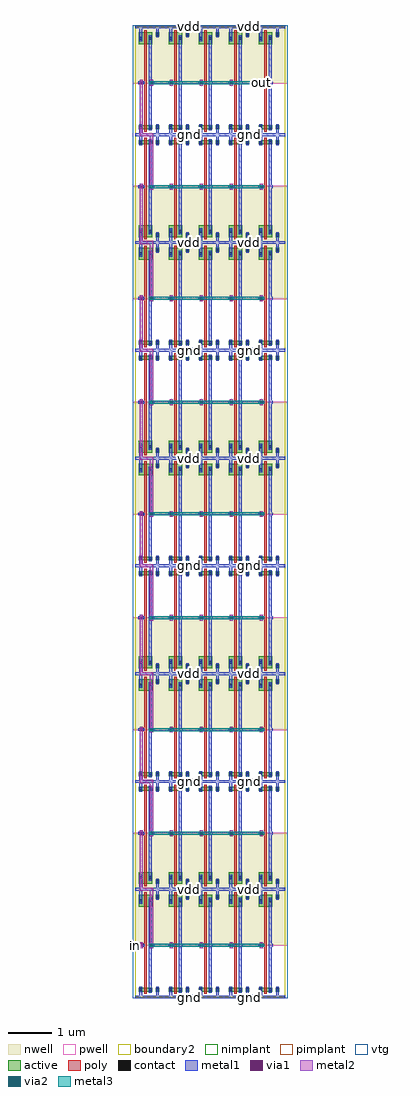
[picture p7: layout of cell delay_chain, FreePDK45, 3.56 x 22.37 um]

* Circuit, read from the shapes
.subckt delay_chain gnd in out vdd
M1 pinv_18_1/A in gnd gnd nfet w=0.09u l=0.05u
M2 pinv_18_10/A pinv_18_1/A gnd gnd nfet w=0.09u l=0.05u
M3 pinv_18_11/A pinv_18_10/A gnd gnd nfet w=0.09u l=0.05u
M4 pinv_18_16/A pinv_18_11/A gnd gnd nfet w=0.09u l=0.05u
M5 pinv_18_21/A pinv_18_16/A gnd gnd nfet w=0.09u l=0.05u
M6 pinv_18_26/A pinv_18_21/A gnd gnd nfet w=0.09u l=0.05u
M7 pinv_18_31/A pinv_18_26/A gnd gnd nfet w=0.09u l=0.05u
M8 pinv_18_36/A pinv_18_31/A gnd gnd nfet w=0.09u l=0.05u
M9 out pinv_18_36/A gnd gnd nfet w=0.09u l=0.05u
M10 pinv_18_1/Z pinv_18_1/A gnd gnd nfet w=0.09u l=0.05u
M11 pinv_18_6/Z pinv_18_10/A gnd gnd nfet w=0.09u l=0.05u
M12 pinv_18_11/Z pinv_18_11/A gnd gnd nfet w=0.09u l=0.05u
M13 pinv_18_16/Z pinv_18_16/A gnd gnd nfet w=0.09u l=0.05u
M14 pinv_18_21/Z pinv_18_21/A gnd gnd nfet w=0.09u l=0.05u
M15 pinv_18_26/Z pinv_18_26/A gnd gnd nfet w=0.09u l=0.05u
M16 pinv_18_31/Z pinv_18_31/A gnd gnd nfet w=0.09u l=0.05u
M17 pinv_18_36/Z pinv_18_36/A gnd gnd nfet w=0.09u l=0.05u
M18 pinv_18_41/Z out gnd gnd nfet w=0.09u l=0.05u
M19 pinv_18_2/Z pinv_18_1/A gnd gnd nfet w=0.09u l=0.05u
M20 pinv_18_7/Z pinv_18_10/A gnd gnd nfet w=0.09u l=0.05u
M21 pinv_18_12/Z pinv_18_11/A gnd gnd nfet w=0.09u l=0.05u
M22 pinv_18_17/Z pinv_18_16/A gnd gnd nfet w=0.09u l=0.05u
M23 pinv_18_22/Z pinv_18_21/A gnd gnd nfet w=0.09u l=0.05u
M24 pinv_18_27/Z pinv_18_26/A gnd gnd nfet w=0.09u l=0.05u
M25 pinv_18_32/Z pinv_18_31/A gnd gnd nfet w=0.09u l=0.05u
M26 pinv_18_37/Z pinv_18_36/A gnd gnd nfet w=0.09u l=0.05u
M27 pinv_18_42/Z out gnd gnd nfet w=0.09u l=0.05u
M28 pinv_18_3/Z pinv_18_1/A gnd gnd nfet w=0.09u l=0.05u
M29 pinv_18_8/Z pinv_18_10/A gnd gnd nfet w=0.09u l=0.05u
M30 pinv_18_13/Z pinv_18_11/A gnd gnd nfet w=0.09u l=0.05u
M31 pinv_18_18/Z pinv_18_16/A gnd gnd nfet w=0.09u l=0.05u
M32 pinv_18_23/Z pinv_18_21/A gnd gnd nfet w=0.09u l=0.05u
M33 pinv_18_28/Z pinv_18_26/A gnd gnd nfet w=0.09u l=0.05u
M34 pinv_18_33/Z pinv_18_31/A gnd gnd nfet w=0.09u l=0.05u
M35 pinv_18_38/Z pinv_18_36/A gnd gnd nfet w=0.09u l=0.05u
M36 pinv_18_43/Z out gnd gnd nfet w=0.09u l=0.05u
M37 pinv_18_4/Z pinv_18_1/A gnd gnd nfet w=0.09u l=0.05u
M38 pinv_18_9/Z pinv_18_10/A gnd gnd nfet w=0.09u l=0.05u
M39 pinv_18_14/Z pinv_18_11/A gnd gnd nfet w=0.09u l=0.05u
M40 pinv_18_19/Z pinv_18_16/A gnd gnd nfet w=0.09u l=0.05u
M41 pinv_18_24/Z pinv_18_21/A gnd gnd nfet w=0.09u l=0.05u
M42 pinv_18_29/Z pinv_18_26/A gnd gnd nfet w=0.09u l=0.05u
M43 pinv_18_34/Z pinv_18_31/A gnd gnd nfet w=0.09u l=0.05u
M44 pinv_18_39/Z pinv_18_36/A gnd gnd nfet w=0.09u l=0.05u
M45 pinv_18_44/Z out gnd gnd nfet w=0.09u l=0.05u
M46 pinv_18_1/A in vdd vdd pfet w=0.27u l=0.05u
M47 pinv_18_10/A pinv_18_1/A vdd vdd pfet w=0.27u l=0.05u
M48 pinv_18_11/A pinv_18_10/A vdd vdd pfet w=0.27u l=0.05u
M49 pinv_18_16/A pinv_18_11/A vdd vdd pfet w=0.27u l=0.05u
M50 pinv_18_21/A pinv_18_16/A vdd vdd pfet w=0.27u l=0.05u
M51 pinv_18_26/A pinv_18_21/A vdd vdd pfet w=0.27u l=0.05u
M52 pinv_18_31/A pinv_18_26/A vdd vdd pfet w=0.27u l=0.05u
M53 pinv_18_36/A pinv_18_31/A vdd vdd pfet w=0.27u l=0.05u
M54 out pinv_18_36/A vdd vdd pfet w=0.27u l=0.05u
M55 pinv_18_1/Z pinv_18_1/A vdd vdd pfet w=0.27u l=0.05u
M56 pinv_18_6/Z pinv_18_10/A vdd vdd pfet w=0.27u l=0.05u
M57 pinv_18_11/Z pinv_18_11/A vdd vdd pfet w=0.27u l=0.05u
M58 pinv_18_16/Z pinv_18_16/A vdd vdd pfet w=0.27u l=0.05u
M59 pinv_18_21/Z pinv_18_21/A vdd vdd pfet w=0.27u l=0.05u
M60 pinv_18_26/Z pinv_18_26/A vdd vdd pfet w=0.27u l=0.05u
M61 pinv_18_31/Z pinv_18_31/A vdd vdd pfet w=0.27u l=0.05u
M62 pinv_18_36/Z pinv_18_36/A vdd vdd pfet w=0.27u l=0.05u
M63 pinv_18_41/Z out vdd vdd pfet w=0.27u l=0.05u
M64 pinv_18_2/Z pinv_18_1/A vdd vdd pfet w=0.27u l=0.05u
M65 pinv_18_7/Z pinv_18_10/A vdd vdd pfet w=0.27u l=0.05u
M66 pinv_18_12/Z pinv_18_11/A vdd vdd pfet w=0.27u l=0.05u
M67 pinv_18_17/Z pinv_18_16/A vdd vdd pfet w=0.27u l=0.05u
M68 pinv_18_22/Z pinv_18_21/A vdd vdd pfet w=0.27u l=0.05u
M69 pinv_18_27/Z pinv_18_26/A vdd vdd pfet w=0.27u l=0.05u
M70 pinv_18_32/Z pinv_18_31/A vdd vdd pfet w=0.27u l=0.05u
M71 pinv_18_37/Z pinv_18_36/A vdd vdd pfet w=0.27u l=0.05u
M72 pinv_18_42/Z out vdd vdd pfet w=0.27u l=0.05u
M73 pinv_18_3/Z pinv_18_1/A vdd vdd pfet w=0.27u l=0.05u
M74 pinv_18_8/Z pinv_18_10/A vdd vdd pfet w=0.27u l=0.05u
M75 pinv_18_13/Z pinv_18_11/A vdd vdd pfet w=0.27u l=0.05u
M76 pinv_18_18/Z pinv_18_16/A vdd vdd pfet w=0.27u l=0.05u
M77 pinv_18_23/Z pinv_18_21/A vdd vdd pfet w=0.27u l=0.05u
M78 pinv_18_28/Z pinv_18_26/A vdd vdd pfet w=0.27u l=0.05u
M79 pinv_18_33/Z pinv_18_31/A vdd vdd pfet w=0.27u l=0.05u
M80 pinv_18_38/Z pinv_18_36/A vdd vdd pfet w=0.27u l=0.05u
M81 pinv_18_43/Z out vdd vdd pfet w=0.27u l=0.05u
M82 pinv_18_4/Z pinv_18_1/A vdd vdd pfet w=0.27u l=0.05u
M83 pinv_18_9/Z pinv_18_10/A vdd vdd pfet w=0.27u l=0.05u
M84 pinv_18_14/Z pinv_18_11/A vdd vdd pfet w=0.27u l=0.05u
M85 pinv_18_19/Z pinv_18_16/A vdd vdd pfet w=0.27u l=0.05u
M86 pinv_18_24/Z pinv_18_21/A vdd vdd pfet w=0.27u l=0.05u
M87 pinv_18_29/Z pinv_18_26/A vdd vdd pfet w=0.27u l=0.05u
M88 pinv_18_34/Z pinv_18_31/A vdd vdd pfet w=0.27u l=0.05u
M89 pinv_18_39/Z pinv_18_36/A vdd vdd pfet w=0.27u l=0.05u
M90 pinv_18_44/Z out vdd vdd pfet w=0.27u l=0.05u
.ends

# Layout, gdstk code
import gdstk
lib = gdstk.Library(unit=1e-6, precision=5e-10)
def R(c, l, rs):  # rectangles x0, y0, x1, y1
    for r in rs: c.add(gdstk.rectangle(r[:2], r[2:], *l))
def A(c, l, x, y, w, h, nx, ny, dx, dy):  # array of equal rectangles
    R(c, l, [(x+i*dx, y+j*dy, x+i*dx+w, y+j*dy+h) for i in range(nx) for j in range(ny)])
active = (1, 0)
pwell = (2, 0)
nwell = (3, 0)
nimplant = (4, 0)
pimplant = (5, 0)
vtg = (6, 0)
poly = (9, 0)
contact = (10, 0)
metal1 = (11, 0)
via1 = (12, 0)
metal2 = (13, 0)
via2 = (14, 0)
metal3 = (15, 0)
boundary2 = (239, 0)

contact_10 = lib.new_cell('contact_10')
R(contact_10, active, [(0,0.0225,0.09,0.1125)])
R(contact_10, nwell, [(-0.055,-0.0325,0.145,0.1675)])
R(contact_10, pimplant, [(0,0.0225,0.09,0.1125)])
R(contact_10, contact, [(0.0125,0.035,0.0775,0.1)])
R(contact_10, metal1, [(0.0125,0,0.0775,0.135)])
R(contact_10, boundary2, [(-0.055,-0.0325,0.145,0.1675)])

pmos_m1_w0_270_sm1_dm1_d = lib.new_cell('pmos_m1_w0_270_sm1_dm1_da_p')
R(pmos_m1_w0_270_sm1_dm1_d, active, [(0,0,0.305,0.27)])
R(pmos_m1_w0_270_sm1_dm1_d, nwell, [(-0.08,-0.08,0.385,0.35)])
R(pmos_m1_w0_270_sm1_dm1_d, pimplant, [(0,0,0.305,0.27)])
R(pmos_m1_w0_270_sm1_dm1_d, vtg, [(-0.08,-0.08,0.385,0.35)])
R(pmos_m1_w0_270_sm1_dm1_d, poly, [(0.1275,-0.055,0.1775,0.325), (0.1275,-0.055,0.1775,0.325)])
R(pmos_m1_w0_270_sm1_dm1_d, metal1, [(0.0125,0.0675,0.0775,0.2025), (0.2275,0.0675,0.2925,0.2025)])
R(pmos_m1_w0_270_sm1_dm1_d, boundary2, [(-0.08,-0.08,0.385,0.35)])
pmos_m1_w0_270_sm1_dm1_d.add(gdstk.Reference(contact_10, (0,0.0675)))
pmos_m1_w0_270_sm1_dm1_d.add(gdstk.Reference(contact_10, (0.215,0.0675)))
pmos_m1_w0_270_sm1_dm1_d.add(gdstk.Label('G', (0.1525,0.135), layer=9, texttype=0))
pmos_m1_w0_270_sm1_dm1_d.add(gdstk.Label('S', (0.045,0.135), layer=11, texttype=0))
pmos_m1_w0_270_sm1_dm1_d.add(gdstk.Label('D', (0.26,0.135), layer=11, texttype=0))

contact_9 = lib.new_cell('contact_9')
R(contact_9, active, [(0,0.0225,0.09,0.1125)])
R(contact_9, pwell, [(-0.055,-0.0325,0.145,0.1675)])
R(contact_9, nimplant, [(0,0.0225,0.09,0.1125)])
R(contact_9, contact, [(0.0125,0.035,0.0775,0.1)])
R(contact_9, metal1, [(0.0125,0,0.0775,0.135)])
R(contact_9, boundary2, [(-0.055,-0.0325,0.145,0.1675)])

nmos_m1_w0_090_sm1_dm1_d = lib.new_cell('nmos_m1_w0_090_sm1_dm1_da_p')
R(nmos_m1_w0_090_sm1_dm1_d, active, [(0,0,0.305,0.09)])
R(nmos_m1_w0_090_sm1_dm1_d, pwell, [(-0.08,-0.08,0.385,0.17)])
R(nmos_m1_w0_090_sm1_dm1_d, nimplant, [(0,0,0.305,0.09)])
R(nmos_m1_w0_090_sm1_dm1_d, vtg, [(-0.08,-0.08,0.385,0.17)])
R(nmos_m1_w0_090_sm1_dm1_d, poly, [(0.1275,-0.055,0.1775,0.145), (0.1275,-0.055,0.1775,0.145)])
R(nmos_m1_w0_090_sm1_dm1_d, metal1, [(0.0125,-0.0225,0.0775,0.1125), (0.2275,-0.0225,0.2925,0.1125)])
R(nmos_m1_w0_090_sm1_dm1_d, boundary2, [(-0.08,-0.08,0.385,0.17)])
nmos_m1_w0_090_sm1_dm1_d.add(gdstk.Reference(contact_9, (0,-0.0225)))
nmos_m1_w0_090_sm1_dm1_d.add(gdstk.Reference(contact_9, (0.215,-0.0225)))
nmos_m1_w0_090_sm1_dm1_d.add(gdstk.Label('G', (0.1525,0.045), layer=9, texttype=0))
nmos_m1_w0_090_sm1_dm1_d.add(gdstk.Label('S', (0.045,0.045), layer=11, texttype=0))
nmos_m1_w0_090_sm1_dm1_d.add(gdstk.Label('D', (0.26,0.045), layer=11, texttype=0))

contact_11 = lib.new_cell('contact_11')
R(contact_11, active, [(0,0.0225,0.09,0.1125)])
R(contact_11, nwell, [(-0.055,-0.0325,0.145,0.1675)])
R(contact_11, nimplant, [(0,0.0225,0.09,0.1125)])
R(contact_11, contact, [(0.0125,0.035,0.0775,0.1)])
R(contact_11, metal1, [(0.0125,0,0.0775,0.135)])
R(contact_11, boundary2, [(-0.055,-0.0325,0.145,0.1675)])

contact_12 = lib.new_cell('contact_12')
R(contact_12, active, [(0,0.0225,0.09,0.1125)])
R(contact_12, pwell, [(-0.055,-0.0325,0.145,0.1675)])
R(contact_12, pimplant, [(0,0.0225,0.09,0.1125)])
R(contact_12, contact, [(0.0125,0.035,0.0775,0.1)])
R(contact_12, metal1, [(0.0125,0,0.0775,0.135)])
R(contact_12, boundary2, [(-0.055,-0.0325,0.145,0.1675)])

contact_13 = lib.new_cell('contact_13')
R(contact_13, poly, [(0.03,0,0.105,0.075)])
R(contact_13, contact, [(0.035,0.005,0.1,0.07)])
R(contact_13, metal1, [(0,0.005,0.135,0.07)])
R(contact_13, boundary2, [(0,0,0.135,0.075)])

pinv_18 = lib.new_cell('pinv_18')
R(pinv_18, pwell, [(-0.055,-0.0325,0.7425,1.185)])
R(pinv_18, nwell, [(-0.055,1.185,0.7425,2.505)])
R(pinv_18, vtg, [(-0.055,-0.0325,0.7425,1.185), (-0.055,1.185,0.7425,2.505)])
R(pinv_18, poly, [(0.2075,0.27,0.2575,2.02), (0.14,1.1525,0.2075,1.2275)])
R(pinv_18, metal1, [(0,-0.0325,0.6875,0.0325), (0.0925,-0.0325,0.1575,0.1025), (0.4775,0,0.5425,0.17), (0.3075,0.1025,0.3725,2.2775), (0.0725,1.1575,0.2075,1.2225), (0.34,1.1575,0.405,1.2225), (0.0925,2.1425,0.1575,2.5025), (0.4775,2.3,0.5425,2.47), (0,2.4375,0.6875,2.5025)])
R(pinv_18, boundary2, [(0,0,0.6875,2.47), (0,0,0.6875,2.47)])
pinv_18.add(gdstk.Reference(pmos_m1_w0_270_sm1_dm1_d, (0.08,2.075)))
pinv_18.add(gdstk.Reference(nmos_m1_w0_090_sm1_dm1_d, (0.08,0.125)))
pinv_18.add(gdstk.Reference(contact_11, (0.465,2.2325)))
pinv_18.add(gdstk.Reference(contact_12, (0.465,0.1025)))
pinv_18.add(gdstk.Reference(contact_13, (0.0725,1.1525)))
pinv_18.add(gdstk.Label('A', (0.14,1.19), layer=11, texttype=0))
pinv_18.add(gdstk.Label('Z', (0.3725,1.19), layer=11, texttype=0))
pinv_18.add(gdstk.Label('gnd', (0.344,0), layer=11, texttype=0))
pinv_18.add(gdstk.Label('vdd', (0.344,2.47), layer=11, texttype=0))

contact_16 = lib.new_cell('contact_16')
R(contact_16, metal1, [(0,0.035,0.135,0.1)])
R(contact_16, via1, [(0.035,0.035,0.1,0.1)])
R(contact_16, metal2, [(0.0325,0,0.1025,0.135)])
R(contact_16, boundary2, [(0,0,0.135,0.135)])

contact_17 = lib.new_cell('contact_17')
R(contact_17, metal2, [(0.0325,0,0.1025,0.135)])
R(contact_17, via2, [(0.035,0.035,0.1,0.1)])
R(contact_17, metal3, [(0,0.0325,0.135,0.1025)])
R(contact_17, boundary2, [(0,0,0.135,0.135)])

delay_chain = lib.new_cell('delay_chain')
R(delay_chain, metal1, [(0,1.1575,0.14,1.2225), (2.8575,20.9175,2.9225,20.9825), (2.8575,20.9175,2.9225,20.9825)])
A(delay_chain, metal2, 0.3375, 1.19, 0.07, 1.28, 1, 4, 0, 4.94)
A(delay_chain, metal2, 0.105, 2.435, 0.07, 0.07, 1, 8, 0, 2.47)
A(delay_chain, metal2, 0.14, 2.435, 0.2325, 0.07, 1, 8, 0, 2.47)
A(delay_chain, metal2, 0.3375, 2.435, 0.07, 0.07, 1, 8, 0, 2.47)
A(delay_chain, metal2, 0.105, 2.47, 0.07, 1.28, 1, 4, 0, 4.94)
A(delay_chain, metal2, 0.3375, 3.75, 0.07, 1.19, 1, 4, 0, 4.94)
A(delay_chain, metal2, 0.105, 4.94, 0.07, 1.19, 1, 4, 0, 4.94)
R(delay_chain, metal2, [(-0.035,1.155,0.035,1.225)])
A(delay_chain, metal3, 1.1775, 2.4025, 0.135, 0.135, 1, 3, 0, 2.47)
A(delay_chain, metal3, 2.5525, 2.4025, 0.135, 0.135, 1, 3, 0, 2.47)
A(delay_chain, metal3, 1.1775, 7.3425, 0.135, 0.135, 1, 7, 0, 2.47)
A(delay_chain, metal3, 2.5525, 7.3425, 0.135, 0.135, 1, 7, 0, 2.47)
R(delay_chain, metal3, [(1.1775,-0.0675,1.3125,0.0675), (2.5525,-0.0675,2.6875,0.0675), (0.3725,1.155,2.89,1.225), (1.1775,2.4025,1.3125,2.5375), (2.5525,2.4025,2.6875,2.5375), (0.3725,3.715,2.89,3.785), (0.3725,6.095,2.89,6.165), (0.3725,8.655,2.89,8.725), (0.3725,11.035,2.89,11.105), (0.3725,13.595,2.89,13.665), (0.3725,15.975,2.89,16.045), (0.3725,18.535,2.89,18.605), (0.3725,20.915,2.89,20.985)])
R(delay_chain, boundary2, [(0,0,3.4375,22.23)])
delay_chain.add(gdstk.Reference(pinv_18, (0,0)))
delay_chain.add(gdstk.Reference(pinv_18, (0.6875,0)))
delay_chain.add(gdstk.Reference(pinv_18, (1.375,0)))
delay_chain.add(gdstk.Reference(pinv_18, (2.0625,0)))
delay_chain.add(gdstk.Reference(pinv_18, (2.75,0)))
delay_chain.add(gdstk.Reference(pinv_18, (0,4.94), x_reflection=True))
delay_chain.add(gdstk.Reference(pinv_18, (0.6875,4.94), x_reflection=True))
delay_chain.add(gdstk.Reference(pinv_18, (1.375,4.94), x_reflection=True))
delay_chain.add(gdstk.Reference(pinv_18, (2.0625,4.94), x_reflection=True))
delay_chain.add(gdstk.Reference(pinv_18, (2.75,4.94), x_reflection=True))
delay_chain.add(gdstk.Reference(pinv_18, (0,4.94)))
delay_chain.add(gdstk.Reference(pinv_18, (0.6875,4.94)))
delay_chain.add(gdstk.Reference(pinv_18, (1.375,4.94)))
delay_chain.add(gdstk.Reference(pinv_18, (2.0625,4.94)))
delay_chain.add(gdstk.Reference(pinv_18, (2.75,4.94)))
delay_chain.add(gdstk.Reference(pinv_18, (0,9.88), x_reflection=True))
delay_chain.add(gdstk.Reference(pinv_18, (0.6875,9.88), x_reflection=True))
delay_chain.add(gdstk.Reference(pinv_18, (1.375,9.88), x_reflection=True))
delay_chain.add(gdstk.Reference(pinv_18, (2.0625,9.88), x_reflection=True))
delay_chain.add(gdstk.Reference(pinv_18, (2.75,9.88), x_reflection=True))
delay_chain.add(gdstk.Reference(pinv_18, (0,9.88)))
delay_chain.add(gdstk.Reference(pinv_18, (0.6875,9.88)))
delay_chain.add(gdstk.Reference(pinv_18, (1.375,9.88)))
delay_chain.add(gdstk.Reference(pinv_18, (2.0625,9.88)))
delay_chain.add(gdstk.Reference(pinv_18, (2.75,9.88)))
delay_chain.add(gdstk.Reference(pinv_18, (0,14.82), x_reflection=True))
delay_chain.add(gdstk.Reference(pinv_18, (0.6875,14.82), x_reflection=True))
delay_chain.add(gdstk.Reference(pinv_18, (1.375,14.82), x_reflection=True))
delay_chain.add(gdstk.Reference(pinv_18, (2.0625,14.82), x_reflection=True))
delay_chain.add(gdstk.Reference(pinv_18, (2.75,14.82), x_reflection=True))
delay_chain.add(gdstk.Reference(pinv_18, (0,14.82)))
delay_chain.add(gdstk.Reference(pinv_18, (0.6875,14.82)))
delay_chain.add(gdstk.Reference(pinv_18, (1.375,14.82)))
delay_chain.add(gdstk.Reference(pinv_18, (2.0625,14.82)))
delay_chain.add(gdstk.Reference(pinv_18, (2.75,14.82)))
delay_chain.add(gdstk.Reference(pinv_18, (0,19.76), x_reflection=True))
delay_chain.add(gdstk.Reference(pinv_18, (0.6875,19.76), x_reflection=True))
delay_chain.add(gdstk.Reference(pinv_18, (1.375,19.76), x_reflection=True))
delay_chain.add(gdstk.Reference(pinv_18, (2.0625,19.76), x_reflection=True))
delay_chain.add(gdstk.Reference(pinv_18, (2.75,19.76), x_reflection=True))
delay_chain.add(gdstk.Reference(pinv_18, (0,19.76)))
delay_chain.add(gdstk.Reference(pinv_18, (0.6875,19.76)))
delay_chain.add(gdstk.Reference(pinv_18, (1.375,19.76)))
delay_chain.add(gdstk.Reference(pinv_18, (2.0625,19.76)))
delay_chain.add(gdstk.Reference(pinv_18, (2.75,19.76)))
delay_chain.add(gdstk.Reference(contact_16, (0.76,1.1225)))
delay_chain.add(gdstk.Reference(contact_17, (0.76,1.1225)))
delay_chain.add(gdstk.Reference(contact_16, (1.4475,1.1225)))
delay_chain.add(gdstk.Reference(contact_17, (1.4475,1.1225)))
delay_chain.add(gdstk.Reference(contact_16, (2.135,1.1225)))
delay_chain.add(gdstk.Reference(contact_17, (2.135,1.1225)))
delay_chain.add(gdstk.Reference(contact_16, (2.8225,1.1225)))
delay_chain.add(gdstk.Reference(contact_17, (2.8225,1.1225)))
delay_chain.add(gdstk.Reference(contact_16, (0.0725,1.1225)))
delay_chain.add(gdstk.Reference(contact_16, (0.305,1.1225)))
delay_chain.add(gdstk.Reference(contact_17, (0.305,1.1225)))
delay_chain.add(gdstk.Reference(contact_16, (0.76,3.6825)))
delay_chain.add(gdstk.Reference(contact_17, (0.76,3.6825)))
delay_chain.add(gdstk.Reference(contact_16, (1.4475,3.6825)))
delay_chain.add(gdstk.Reference(contact_17, (1.4475,3.6825)))
delay_chain.add(gdstk.Reference(contact_16, (2.135,3.6825)))
delay_chain.add(gdstk.Reference(contact_17, (2.135,3.6825)))
delay_chain.add(gdstk.Reference(contact_16, (2.8225,3.6825)))
delay_chain.add(gdstk.Reference(contact_17, (2.8225,3.6825)))
delay_chain.add(gdstk.Reference(contact_16, (0.0725,3.6825)))
delay_chain.add(gdstk.Reference(contact_16, (0.305,3.6825)))
delay_chain.add(gdstk.Reference(contact_17, (0.305,3.6825)))
delay_chain.add(gdstk.Reference(contact_16, (0.76,6.0625)))
delay_chain.add(gdstk.Reference(contact_17, (0.76,6.0625)))
delay_chain.add(gdstk.Reference(contact_16, (1.4475,6.0625)))
delay_chain.add(gdstk.Reference(contact_17, (1.4475,6.0625)))
delay_chain.add(gdstk.Reference(contact_16, (2.135,6.0625)))
delay_chain.add(gdstk.Reference(contact_17, (2.135,6.0625)))
delay_chain.add(gdstk.Reference(contact_16, (2.8225,6.0625)))
delay_chain.add(gdstk.Reference(contact_17, (2.8225,6.0625)))
delay_chain.add(gdstk.Reference(contact_16, (0.0725,6.0625)))
delay_chain.add(gdstk.Reference(contact_16, (0.305,6.0625)))
delay_chain.add(gdstk.Reference(contact_17, (0.305,6.0625)))
delay_chain.add(gdstk.Reference(contact_16, (0.76,8.6225)))
delay_chain.add(gdstk.Reference(contact_17, (0.76,8.6225)))
delay_chain.add(gdstk.Reference(contact_16, (1.4475,8.6225)))
delay_chain.add(gdstk.Reference(contact_17, (1.4475,8.6225)))
delay_chain.add(gdstk.Reference(contact_16, (2.135,8.6225)))
delay_chain.add(gdstk.Reference(contact_17, (2.135,8.6225)))
delay_chain.add(gdstk.Reference(contact_16, (2.8225,8.6225)))
delay_chain.add(gdstk.Reference(contact_17, (2.8225,8.6225)))
delay_chain.add(gdstk.Reference(contact_16, (0.0725,8.6225)))
delay_chain.add(gdstk.Reference(contact_16, (0.305,8.6225)))
delay_chain.add(gdstk.Reference(contact_17, (0.305,8.6225)))
delay_chain.add(gdstk.Reference(contact_16, (0.76,11.0025)))
delay_chain.add(gdstk.Reference(contact_17, (0.76,11.0025)))
delay_chain.add(gdstk.Reference(contact_16, (1.4475,11.0025)))
delay_chain.add(gdstk.Reference(contact_17, (1.4475,11.0025)))
delay_chain.add(gdstk.Reference(contact_16, (2.135,11.0025)))
delay_chain.add(gdstk.Reference(contact_17, (2.135,11.0025)))
delay_chain.add(gdstk.Reference(contact_16, (2.8225,11.0025)))
delay_chain.add(gdstk.Reference(contact_17, (2.8225,11.0025)))
delay_chain.add(gdstk.Reference(contact_16, (0.0725,11.0025)))
delay_chain.add(gdstk.Reference(contact_16, (0.305,11.0025)))
delay_chain.add(gdstk.Reference(contact_17, (0.305,11.0025)))
delay_chain.add(gdstk.Reference(contact_16, (0.76,13.5625)))
delay_chain.add(gdstk.Reference(contact_17, (0.76,13.5625)))
delay_chain.add(gdstk.Reference(contact_16, (1.4475,13.5625)))
delay_chain.add(gdstk.Reference(contact_17, (1.4475,13.5625)))
delay_chain.add(gdstk.Reference(contact_16, (2.135,13.5625)))
delay_chain.add(gdstk.Reference(contact_17, (2.135,13.5625)))
delay_chain.add(gdstk.Reference(contact_16, (2.8225,13.5625)))
delay_chain.add(gdstk.Reference(contact_17, (2.8225,13.5625)))
delay_chain.add(gdstk.Reference(contact_16, (0.0725,13.5625)))
delay_chain.add(gdstk.Reference(contact_16, (0.305,13.5625)))
delay_chain.add(gdstk.Reference(contact_17, (0.305,13.5625)))
delay_chain.add(gdstk.Reference(contact_16, (0.76,15.9425)))
delay_chain.add(gdstk.Reference(contact_17, (0.76,15.9425)))
delay_chain.add(gdstk.Reference(contact_16, (1.4475,15.9425)))
delay_chain.add(gdstk.Reference(contact_17, (1.4475,15.9425)))
delay_chain.add(gdstk.Reference(contact_16, (2.135,15.9425)))
delay_chain.add(gdstk.Reference(contact_17, (2.135,15.9425)))
delay_chain.add(gdstk.Reference(contact_16, (2.8225,15.9425)))
delay_chain.add(gdstk.Reference(contact_17, (2.8225,15.9425)))
delay_chain.add(gdstk.Reference(contact_16, (0.0725,15.9425)))
delay_chain.add(gdstk.Reference(contact_16, (0.305,15.9425)))
delay_chain.add(gdstk.Reference(contact_17, (0.305,15.9425)))
delay_chain.add(gdstk.Reference(contact_16, (0.76,18.5025)))
delay_chain.add(gdstk.Reference(contact_17, (0.76,18.5025)))
delay_chain.add(gdstk.Reference(contact_16, (1.4475,18.5025)))
delay_chain.add(gdstk.Reference(contact_17, (1.4475,18.5025)))
delay_chain.add(gdstk.Reference(contact_16, (2.135,18.5025)))
delay_chain.add(gdstk.Reference(contact_17, (2.135,18.5025)))
delay_chain.add(gdstk.Reference(contact_16, (2.8225,18.5025)))
delay_chain.add(gdstk.Reference(contact_17, (2.8225,18.5025)))
delay_chain.add(gdstk.Reference(contact_16, (0.0725,18.5025)))
delay_chain.add(gdstk.Reference(contact_16, (0.305,18.5025)))
delay_chain.add(gdstk.Reference(contact_17, (0.305,18.5025)))
delay_chain.add(gdstk.Reference(contact_16, (0.76,20.8825)))
delay_chain.add(gdstk.Reference(contact_17, (0.76,20.8825)))
delay_chain.add(gdstk.Reference(contact_16, (1.4475,20.8825)))
delay_chain.add(gdstk.Reference(contact_17, (1.4475,20.8825)))
delay_chain.add(gdstk.Reference(contact_16, (2.135,20.8825)))
delay_chain.add(gdstk.Reference(contact_17, (2.135,20.8825)))
delay_chain.add(gdstk.Reference(contact_16, (2.8225,20.8825)))
delay_chain.add(gdstk.Reference(contact_17, (2.8225,20.8825)))
delay_chain.add(gdstk.Reference(contact_16, (0.0725,20.8825)))
delay_chain.add(gdstk.Reference(contact_16, (0.305,20.8825)))
delay_chain.add(gdstk.Reference(contact_17, (0.305,20.8825)))
delay_chain.add(gdstk.Reference(contact_16, (1.1775,2.4025)))
delay_chain.add(gdstk.Reference(contact_17, (1.1775,2.4025)))
delay_chain.add(gdstk.Reference(contact_16, (2.5525,2.4025)))
delay_chain.add(gdstk.Reference(contact_17, (2.5525,2.4025)))
delay_chain.add(gdstk.Reference(contact_16, (1.1775,-0.0675)))
delay_chain.add(gdstk.Reference(contact_17, (1.1775,-0.0675)))
delay_chain.add(gdstk.Reference(contact_16, (2.5525,-0.0675)))
delay_chain.add(gdstk.Reference(contact_17, (2.5525,-0.0675)))
delay_chain.add(gdstk.Reference(contact_16, (1.1775,2.4025)))
delay_chain.add(gdstk.Reference(contact_17, (1.1775,2.4025)))
delay_chain.add(gdstk.Reference(contact_16, (2.5525,2.4025)))
delay_chain.add(gdstk.Reference(contact_17, (2.5525,2.4025)))
delay_chain.add(gdstk.Reference(contact_16, (1.1775,4.8725)))
delay_chain.add(gdstk.Reference(contact_17, (1.1775,4.8725)))
delay_chain.add(gdstk.Reference(contact_16, (2.5525,4.8725)))
delay_chain.add(gdstk.Reference(contact_17, (2.5525,4.8725)))
delay_chain.add(gdstk.Reference(contact_16, (1.1775,7.3425)))
delay_chain.add(gdstk.Reference(contact_17, (1.1775,7.3425)))
delay_chain.add(gdstk.Reference(contact_16, (2.5525,7.3425)))
delay_chain.add(gdstk.Reference(contact_17, (2.5525,7.3425)))
delay_chain.add(gdstk.Reference(contact_16, (1.1775,4.8725)))
delay_chain.add(gdstk.Reference(contact_17, (1.1775,4.8725)))
delay_chain.add(gdstk.Reference(contact_16, (2.5525,4.8725)))
delay_chain.add(gdstk.Reference(contact_17, (2.5525,4.8725)))
delay_chain.add(gdstk.Reference(contact_16, (1.1775,7.3425)))
delay_chain.add(gdstk.Reference(contact_17, (1.1775,7.3425)))
delay_chain.add(gdstk.Reference(contact_16, (2.5525,7.3425)))
delay_chain.add(gdstk.Reference(contact_17, (2.5525,7.3425)))
delay_chain.add(gdstk.Reference(contact_16, (1.1775,9.8125)))
delay_chain.add(gdstk.Reference(contact_17, (1.1775,9.8125)))
delay_chain.add(gdstk.Reference(contact_16, (2.5525,9.8125)))
delay_chain.add(gdstk.Reference(contact_17, (2.5525,9.8125)))
delay_chain.add(gdstk.Reference(contact_16, (1.1775,12.2825)))
delay_chain.add(gdstk.Reference(contact_17, (1.1775,12.2825)))
delay_chain.add(gdstk.Reference(contact_16, (2.5525,12.2825)))
delay_chain.add(gdstk.Reference(contact_17, (2.5525,12.2825)))
delay_chain.add(gdstk.Reference(contact_16, (1.1775,9.8125)))
delay_chain.add(gdstk.Reference(contact_17, (1.1775,9.8125)))
delay_chain.add(gdstk.Reference(contact_16, (2.5525,9.8125)))
delay_chain.add(gdstk.Reference(contact_17, (2.5525,9.8125)))
delay_chain.add(gdstk.Reference(contact_16, (1.1775,12.2825)))
delay_chain.add(gdstk.Reference(contact_17, (1.1775,12.2825)))
delay_chain.add(gdstk.Reference(contact_16, (2.5525,12.2825)))
delay_chain.add(gdstk.Reference(contact_17, (2.5525,12.2825)))
delay_chain.add(gdstk.Reference(contact_16, (1.1775,14.7525)))
delay_chain.add(gdstk.Reference(contact_17, (1.1775,14.7525)))
delay_chain.add(gdstk.Reference(contact_16, (2.5525,14.7525)))
delay_chain.add(gdstk.Reference(contact_17, (2.5525,14.7525)))
delay_chain.add(gdstk.Reference(contact_16, (1.1775,17.2225)))
delay_chain.add(gdstk.Reference(contact_17, (1.1775,17.2225)))
delay_chain.add(gdstk.Reference(contact_16, (2.5525,17.2225)))
delay_chain.add(gdstk.Reference(contact_17, (2.5525,17.2225)))
delay_chain.add(gdstk.Reference(contact_16, (1.1775,14.7525)))
delay_chain.add(gdstk.Reference(contact_17, (1.1775,14.7525)))
delay_chain.add(gdstk.Reference(contact_16, (2.5525,14.7525)))
delay_chain.add(gdstk.Reference(contact_17, (2.5525,14.7525)))
delay_chain.add(gdstk.Reference(contact_16, (1.1775,17.2225)))
delay_chain.add(gdstk.Reference(contact_17, (1.1775,17.2225)))
delay_chain.add(gdstk.Reference(contact_16, (2.5525,17.2225)))
delay_chain.add(gdstk.Reference(contact_17, (2.5525,17.2225)))
delay_chain.add(gdstk.Reference(contact_16, (1.1775,19.6925)))
delay_chain.add(gdstk.Reference(contact_17, (1.1775,19.6925)))
delay_chain.add(gdstk.Reference(contact_16, (2.5525,19.6925)))
delay_chain.add(gdstk.Reference(contact_17, (2.5525,19.6925)))
delay_chain.add(gdstk.Reference(contact_16, (1.1775,22.1625)))
delay_chain.add(gdstk.Reference(contact_17, (1.1775,22.1625)))
delay_chain.add(gdstk.Reference(contact_16, (2.5525,22.1625)))
delay_chain.add(gdstk.Reference(contact_17, (2.5525,22.1625)))
delay_chain.add(gdstk.Reference(contact_16, (1.1775,19.6925)))
delay_chain.add(gdstk.Reference(contact_17, (1.1775,19.6925)))
delay_chain.add(gdstk.Reference(contact_16, (2.5525,19.6925)))
delay_chain.add(gdstk.Reference(contact_17, (2.5525,19.6925)))
delay_chain.add(gdstk.Reference(contact_16, (-0.0675,1.1225)))
delay_chain.add(gdstk.Label('vdd', (2.62,2.47), layer=15, texttype=0))
delay_chain.add(gdstk.Label('vdd', (1.245,2.47), layer=15, texttype=0))
delay_chain.add(gdstk.Label('vdd', (1.245,2.47), layer=15, texttype=0))
delay_chain.add(gdstk.Label('vdd', (2.62,12.35), layer=15, texttype=0))
delay_chain.add(gdstk.Label('vdd', (2.62,7.41), layer=15, texttype=0))
delay_chain.add(gdstk.Label('vdd', (2.62,7.41), layer=15, texttype=0))
delay_chain.add(gdstk.Label('vdd', (1.245,7.41), layer=15, texttype=0))
delay_chain.add(gdstk.Label('vdd', (2.62,17.29), layer=15, texttype=0))
delay_chain.add(gdstk.Label('vdd', (1.245,17.29), layer=15, texttype=0))
delay_chain.add(gdstk.Label('vdd', (2.62,22.23), layer=15, texttype=0))
delay_chain.add(gdstk.Label('vdd', (1.245,22.23), layer=15, texttype=0))
delay_chain.add(gdstk.Label('vdd', (1.245,12.35), layer=15, texttype=0))
delay_chain.add(gdstk.Label('vdd', (1.245,7.41), layer=15, texttype=0))
delay_chain.add(gdstk.Label('vdd', (2.62,2.47), layer=15, texttype=0))
delay_chain.add(gdstk.Label('gnd', (2.62,9.88), layer=15, texttype=0))
delay_chain.add(gdstk.Label('gnd', (1.245,0), layer=15, texttype=0))
delay_chain.add(gdstk.Label('gnd', (1.245,19.76), layer=15, texttype=0))
delay_chain.add(gdstk.Label('gnd', (1.245,14.82), layer=15, texttype=0))
delay_chain.add(gdstk.Label('gnd', (1.245,9.88), layer=15, texttype=0))
delay_chain.add(gdstk.Label('gnd', (2.62,14.82), layer=15, texttype=0))
delay_chain.add(gdstk.Label('gnd', (1.245,4.94), layer=15, texttype=0))
delay_chain.add(gdstk.Label('gnd', (2.62,4.94), layer=15, texttype=0))
delay_chain.add(gdstk.Label('gnd', (2.62,0), layer=15, texttype=0))
delay_chain.add(gdstk.Label('gnd', (2.62,19.76), layer=15, texttype=0))
delay_chain.add(gdstk.Label('in', (0,1.19), layer=13, texttype=0))
delay_chain.add(gdstk.Label('out', (2.89,20.95), layer=11, texttype=0))

lib.write_gds('delay_chain.gds')
